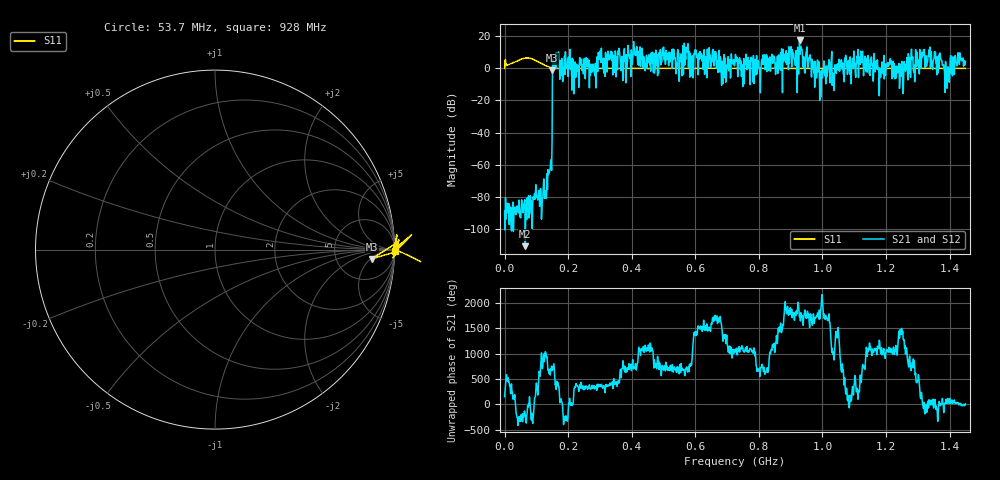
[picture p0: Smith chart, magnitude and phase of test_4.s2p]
! Created with skrf 1.11.0 (http://scikit-rf.org).
# Hz S RI R 50.0
!freq ReS11 ImS11 ReS21 ImS21 ReS12 ImS12 ReS22 ImS22
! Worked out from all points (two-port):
!   1001 points, 50 kHz to 1.45 GHz, reference 50 ohm
!   highest |S21| = 17.47 dB at 928 MHz (marker M1); lowest = -111.0 dB at 65.3 MHz (marker M2)
!   |S21| within 3 dB of the highest: 405.571 MHz to 406.5946 MHz (1.024 MHz wide, 0.252 % of centre); 565.3268 MHz to 565.6643 MHz (337.5 kHz wide, 0.0597 % of centre) (the widest 2 of 4)
!   lowest |S11| = -1.2 dB at 149.4 MHz (marker M3), VSWR 14.98, Z = 627 - j276 ohm
!   |S11| at or under -10 dB: nowhere
!   |S22| runs from - to - dB; largest |S21 - S12| = 0
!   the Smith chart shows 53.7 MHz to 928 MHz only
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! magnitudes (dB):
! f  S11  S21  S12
! 50 kHz  0.0  -89.1  -89.1
! 65.3 MHz  6.5  -111.0  -111.0
! 127.6 MHz  2.0  -76.4  -76.4
! 142.1 MHz  0.7  -63.3  -63.3
! 149.4 MHz  -1.2  -45.7  -45.7
! 158.1 MHz  0.0  0.4  0.4
! 242.2 MHz  0.1  5.8  5.8
! 484.3 MHz  0.0  -3.0  -3.0
! 658.3 MHz  0.1  3.1  3.1
! 690.2 MHz  0.1  8.7  8.7
! 725 MHz  0.1  3.5  3.5
! 749.7 MHz  0.0  -11.3  -11.3
! 928 MHz  0.0  17.5  17.5
! 967.2 MHz  0.1  5.8  5.8
! 999.1 MHz  0.1  -6.1  -6.1
! 1.119 GHz  0.1  2.6  2.6
! 1.179 GHz  0.0  -17.0  -17.0
! 1.209 GHz  0.0  2.2  2.2
! 1.248 GHz  0.0  -5.0  -5.0
! 1.314 GHz  0.1  7.0  7.0
! 1.393 GHz  0.1  -6.5  -6.5
! 1.45 GHz  0.0  4.4  4.4
